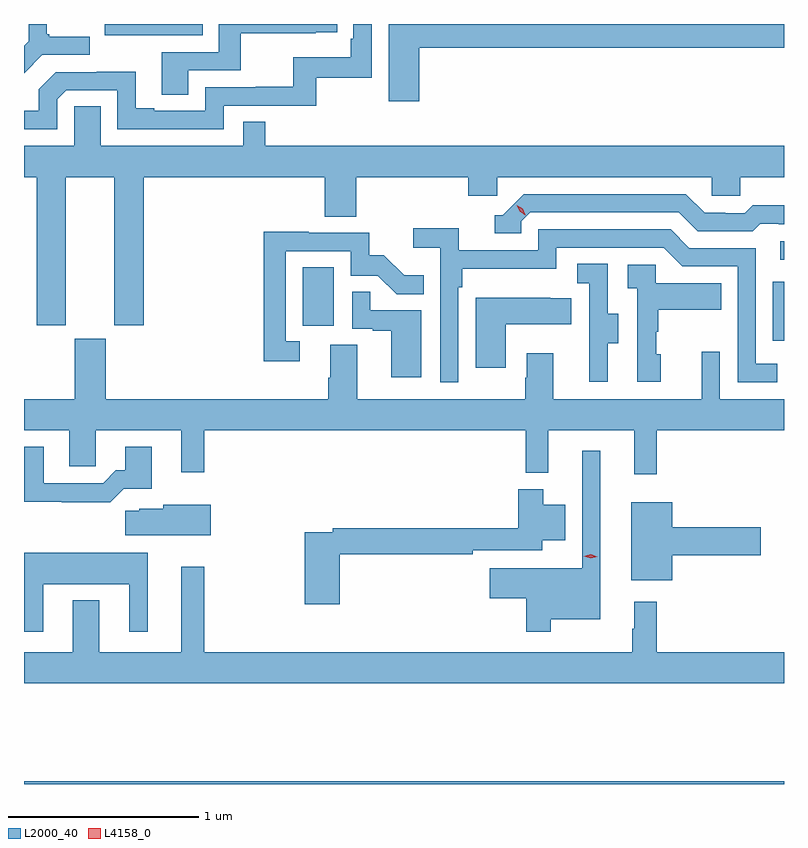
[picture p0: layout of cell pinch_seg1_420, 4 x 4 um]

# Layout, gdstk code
import gdstk
lib = gdstk.Library(unit=1e-6, precision=1e-09)
def R(c, l, rs):  # rectangles x0, y0, x1, y1
    for r in rs: c.add(gdstk.rectangle(r[:2], r[2:], *l))
def P(c, l, *ps):  # polygons
    for p in ps: c.add(gdstk.Polygon(p, *l))
L2000_40 = (2000, 40)
L4158_0 = (4158, 0)

pinch_seg1_420 = lib.new_cell('pinch_seg1_420')
R(pinch_seg1_420, L2000_40, [(924.426,540.546,928.426,540.56), (928.368,542.88,928.426,543.19), (925.892,542.958,926.056,543.265), (928.407,543.306,928.426,543.402), (924.852,544.488,925.367,544.546)])
P(pinch_seg1_420, L2000_40, [(926.506,544.42),(928.426,544.42),(928.426,544.546),(926.345,544.546),(926.345,544.14),(926.506,544.14)],
  [(925.291,544.302),(925.568,544.302),(925.568,544.498),(925.961,544.498),(925.961,544.503),(926.074,544.503),(926.074,544.546),(925.452,544.546),(925.452,544.398),(925.151,544.398),(925.151,544.174),(925.291,544.174)],
  [(924.6,544.149),(924.648,544.197),(924.918,544.197),(924.918,543.993),(925.476,543.993),(925.476,544.116),(925.963,544.116),(925.963,544.263),(926.256,544.263),(926.256,544.546),(926.16,544.546),(926.16,544.468),(926.147,544.468),(926.147,544.372),(925.842,544.372),(925.842,544.217),(925.645,544.217),(925.645,544.212),(925.38,544.212),(925.38,544.089),(925.111,544.089),(925.111,544.102),(925.015,544.102),(925.015,544.295),(924.81,544.295),(924.81,544.293),(924.594,544.293),(924.504,544.203),(924.504,544.089),(924.426,544.089),(924.426,543.993),(924.6,543.993)],
  [(924.522,544.383),(924.772,544.383),(924.772,544.48),(924.559,544.48),(924.559,544.492),(924.547,544.492),(924.547,544.546),(924.45,544.546),(924.45,544.455),(924.426,544.431),(924.426,544.287)],
  [(924.646,543.74),(924.902,543.74),(924.902,542.961),(925.055,542.961),(925.055,543.74),(926.009,543.74),(926.009,543.532),(926.174,543.532),(926.174,543.74),(926.765,543.74),(926.765,543.642),(926.916,543.642),(926.916,543.74),(928.047,543.74),(928.047,543.642),(928.197,543.642),(928.197,543.74),(928.426,543.74),(928.426,543.904),(925.697,543.904),(925.697,544.031),(925.581,544.031),(925.581,543.904),(924.829,543.904),(924.829,544.112),(924.69,544.112),(924.69,543.904),(924.426,543.904),(924.426,543.74),(924.494,543.74),(924.494,542.961),(924.646,542.961)],
  [(927.042,543.507),(927.09,543.555),(927.873,543.555),(927.972,543.456),(928.261,543.456),(928.3,543.495),(928.399,543.495),(928.399,543.492),(928.426,543.492),(928.426,543.592),(928.261,543.592),(928.219,543.549),(928.116,543.549),(928.116,543.552),(928.009,543.552),(927.91,543.651),(927.057,543.651),(926.946,543.54),(926.903,543.54),(926.903,543.444),(927.042,543.444)],
  [(926.712,543.161),(926.732,543.161),(926.732,543.257),(927.228,543.257),(927.228,543.369),(927.792,543.369),(927.891,543.27),(928.182,543.27),(928.182,542.661),(928.391,542.661),(928.391,542.757),(928.278,542.757),(928.278,543.366),(927.928,543.366),(927.829,543.465),(927.132,543.465),(927.132,543.354),(926.714,543.354),(926.714,543.47),(926.475,543.47),(926.475,543.368),(926.616,543.368),(926.616,542.661),(926.712,542.661)],
  [(925.876,542.877),(925.803,542.877),(925.803,543.351),(926.145,543.351),(926.145,543.222),(926.289,543.222),(926.387,543.124),(926.531,543.124),(926.531,543.223),(926.427,543.223),(926.32,543.33),(926.244,543.33),(926.244,543.447),(925.925,543.447),(925.925,543.452),(925.687,543.452),(925.687,542.772),(925.876,542.772)],
  [(927.499,542.866),(927.553,542.866),(927.553,543.021),(927.498,543.021),(927.498,543.284),(927.339,543.284),(927.339,543.181),(927.402,543.181),(927.402,542.877),(927.401,542.877),(927.401,542.664),(927.499,542.664)],
  [(927.778,542.808),(927.753,542.808),(927.753,542.927),(927.763,542.927),(927.763,543.041),(928.097,543.041),(928.097,543.181),(927.75,543.181),(927.75,543.279),(927.603,543.279),(927.603,543.155),(927.654,543.155),(927.654,542.664),(927.778,542.664)],
  [(926.518,543.039),(926.249,543.039),(926.249,543.137),(926.154,543.137),(926.154,542.943),(926.261,542.943),(926.261,542.931),(926.36,542.931),(926.36,542.688),(926.518,542.688)],
  [(926.962,542.966),(927.305,542.966),(927.305,543.103),(927.197,543.103),(927.197,543.106),(926.804,543.106),(926.804,542.736),(926.962,542.736)],
  [(927.755,542.408),(928.426,542.408),(928.426,542.572),(928.089,542.572),(928.089,542.821),(927.992,542.821),(927.992,542.572),(927.211,542.572),(927.211,542.812),(927.071,542.812),(927.071,542.684),(927.064,542.684),(927.064,542.572),(926.179,542.572),(926.179,542.858),(926.039,542.858),(926.039,542.684),(926.027,542.684),(926.027,542.572),(924.856,542.572),(924.856,542.889),(924.692,542.889),(924.692,542.572),(924.426,542.572),(924.426,542.408),(924.665,542.408),(924.665,542.218),(924.804,542.218),(924.804,542.408),(925.253,542.408),(925.253,542.187),(925.375,542.187),(925.375,542.408),(927.067,542.408),(927.067,542.183),(927.185,542.183),(927.185,542.408),(927.638,542.408),(927.638,542.175),(927.755,542.175)],
  [(924.951,542.1),(925.099,542.1),(925.099,542.32),(924.959,542.32),(924.959,542.197),(924.91,542.197),(924.843,542.13),(924.529,542.13),(924.529,542.32),(924.426,542.32),(924.426,542.032),(924.625,542.032),(924.625,542.03),(924.881,542.03)],
  [(927.199,541.412),(927.46,541.412),(927.46,542.299),(927.363,542.299),(927.363,541.681),(926.877,541.681),(926.877,541.523),(927.07,541.523),(927.07,541.347),(927.199,541.347)],
  [(926.087,541.756),(926.789,541.756),(926.789,541.776),(927.154,541.776),(927.154,541.829),(927.274,541.829),(927.274,542.017),(927.16,542.017),(927.16,542.098),(927.026,542.098),(927.026,541.892),(926.05,541.892),(926.05,541.872),(925.904,541.872),(925.904,541.491),(926.087,541.491)],
  [(927.838,541.751),(928.303,541.751),(928.303,541.898),(927.838,541.898),(927.838,542.029),(927.623,542.029),(927.623,541.619),(927.838,541.619)],
  [(925.408,542.017),(925.158,542.017),(925.158,541.996),(925.032,541.996),(925.032,541.985),(924.96,541.985),(924.96,541.856),(925.408,541.856)],
  [(924.526,541.598),(924.98,541.598),(924.98,541.347),(925.078,541.347),(925.078,541.762),(924.426,541.762),(924.426,541.598),(924.428,541.598),(924.428,541.347),(924.526,541.347)],
  [(928.426,541.24),(927.755,541.24),(927.755,541.504),(927.638,541.504),(927.638,541.364),(927.627,541.364),(927.627,541.24),(925.375,541.24),(925.375,541.69),(925.253,541.69),(925.253,541.24),(924.823,541.24),(924.823,541.513),(924.683,541.513),(924.683,541.24),(924.426,541.24),(924.426,541.076),(928.426,541.076)])
P(pinch_seg1_420, L4158_0, [(927.065,543.54),(927.035,543.56),(927.019,543.593),(927.019,543.593),(927.019,543.593),(927.05,543.574),(927.065,543.541),(927.065,543.54)],
  [(927.408,541.734),(927.373,541.745),(927.373,541.746),(927.373,541.746),(927.409,541.754),(927.444,541.742),(927.444,541.742),(927.444,541.742)])

lib.write_gds('pinch_seg1_420.gds')
